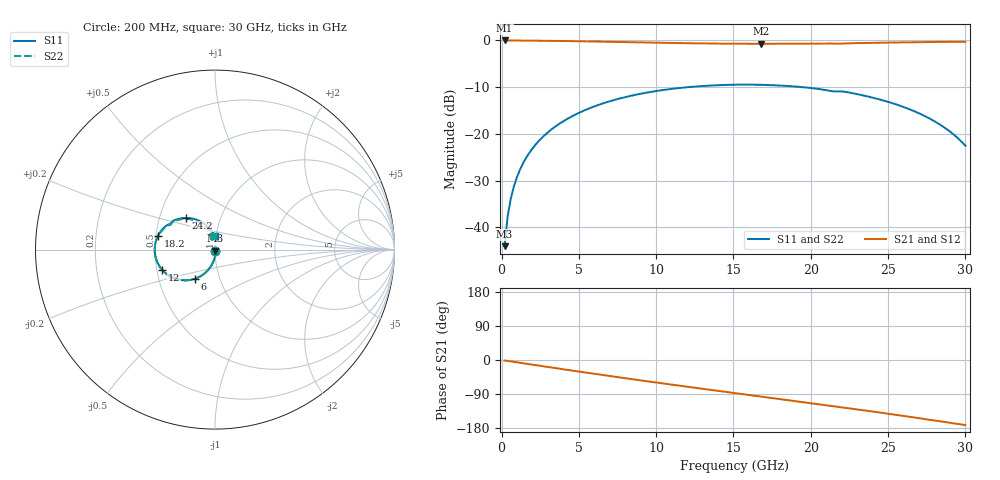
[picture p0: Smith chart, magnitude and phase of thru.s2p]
! Created Thu Feb 13 08:59:46 2025
! List of port names and net name(s): example Port n = <port_name> <net_name1> <net_name2> ...
! Port 1 = P1 P1 P2 P9
! Port 2 = P4 P1 P9 P2
# hz S ma R 50
! 2 Port Network Data from data block
! freq  magS11  angS11  magS21  angS21  magS12  angS12  magS22  angS22
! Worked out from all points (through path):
!   150 points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, 200 MHz to 30 GHz, reference 50 ohm
!   highest |S21| = -0.02 dB at 200 MHz (marker M1); lowest = -0.7 dB at 16.8 GHz (marker M2)
!   group delay of S21, straight-line fit = 15.6 ps
!   lowest |S11| = -44.0 dB at 200 MHz (marker M3), VSWR 1.01, Z = 50.2 - j0.585 ohm
!   |S11| at or under -10 dB: start of sweep to 12.11 GHz; 19.44 GHz to end of sweep
!   |S22| runs from -44.0 to -9.5 dB; largest |S21 - S12| = 0
!   S11 on the Smith chart (normalised r, x): 200 MHz: 1.00, -0.01; 6 GHz: 0.76, -0.26; 12 GHz: 0.53, -0.13; 18.2 GHz: 0.51, +0.09; 24.2 GHz: 0.68, +0.26; 30 GHz: 0.98, +0.15
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2e8  0.006275 -68.0  0.9975 -1.3  0.9975 -1.3  0.006276 -68.0
4e8  0.01319 -78.3  0.9967 -2.5  0.9967 -2.5  0.01319 -78.3
6e8  0.02027 -83.2  0.9961 -3.8  0.9961 -3.8  0.02027 -83.2
1e9  0.03447 -89.2  0.9952 -6.2  0.9952 -6.2  0.03447 -89.1
1.6e9  0.05562 -95.1  0.9937 -9.9  0.9937 -9.9  0.05562 -95.0
2.2e9  0.07647 -99.8  0.9919 -13.6  0.9919 -13.6  0.07646 -99.7
3e9  0.1037 -105.5  0.9888 -18.5  0.9888 -18.5  0.1036 -105.4
4e9  0.1364 -112.0  0.984 -24.5  0.984 -24.5  0.1364 -111.9
5.2e9  0.1734 -119.5  0.9769 -31.7  0.9769 -31.7  0.1733 -119.4
6e9  0.1963 -124.4  0.9717 -36.5  0.9717 -36.5  0.1963 -124.2
8e9  0.247 -136.3  0.9575 -48.1  0.9575 -48.1  0.2469 -136.1
1.02e10  0.2902 -149.0  0.9424 -60.6  0.9424 -60.6  0.2901 -148.6
1.2e10  0.315 -159.1  0.9319 -70.5  0.9319 -70.5  0.3149 -158.7
1.52e10  0.3355 -176.8  0.9206 -87.8  0.9206 -87.8  0.3353 -176.1
1.68e10  0.3344 174.4  0.9191 -96.4  0.9191 -96.4  0.3342 175.2
1.82e10  0.3273 166.7  0.9202 -104.0  0.9202 -104.0  0.327 167.5
2.02e10  0.3066 155.5  0.9247 -115.0  0.9247 -115.0  0.3058 156.7
2.42e10  0.2391 132.4  0.942 -137.1  0.942 -137.1  0.2388 134.3
2.52e10  0.2146 126.2  0.9475 -142.9  0.9475 -142.9  0.2143 128.3
2.8e10  0.1364 107.9  0.9609 -159.5  0.9609 -159.5  0.136 111.2
2.9e10  0.1058 100.5  0.9643 -165.6  0.9643 -165.6  0.1053 104.7
3e10  0.07459 92.0  0.9668 -171.7  0.9668 -171.7  0.07394 97.7
